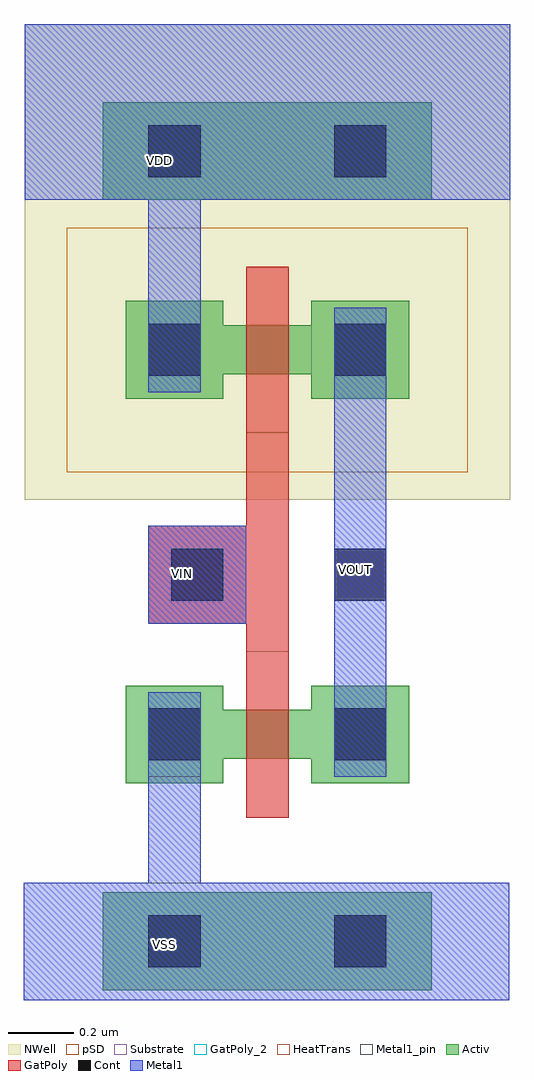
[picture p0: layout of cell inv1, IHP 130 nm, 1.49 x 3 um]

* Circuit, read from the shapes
.subckt inv1 VDD VIN VOUT VSS
XM1 VOUT VIN VSS VSS sg13_lv_nmos w=0.15u l=0.13u
XM2 VOUT VIN VDD VDD sg13_lv_pmos w=0.15u l=0.13u
.ends

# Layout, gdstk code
import gdstk
lib = gdstk.Library(unit=1e-6, precision=1e-09)
def R(c, l, rs):  # rectangles x0, y0, x1, y1
    for r in rs: c.add(gdstk.rectangle(r[:2], r[2:], *l))
Activ = (1, 0)
GatPoly = (5, 0)
GatPoly_2 = (5, 2)
Cont = (6, 0)
Metal1 = (8, 0)
Metal1_pin = (8, 2)
pSD = (14, 0)
NWell = (31, 0)
Substrate = (40, 0)
HeatTrans = (51, 0)

nmos = lib.new_cell('nmos')
R(nmos, Activ, [(0,0,0.3,0.3), (0.57,0,0.87,0.3), (0,0.075,0.87,0.225)])
R(nmos, GatPoly, [(0.37,-0.105,0.5,0.405)])
R(nmos, GatPoly_2, [(0.37,-0.105,0.5,0.405)])
R(nmos, Cont, [(0.07,0.07,0.23,0.23), (0.64,0.07,0.8,0.23)])
R(nmos, Metal1, [(0.07,0.02,0.23,0.28), (0.64,0.02,0.8,0.28)])
R(nmos, Metal1_pin, [(0.07,0.02,0.23,0.28), (0.64,0.02,0.8,0.28)])
R(nmos, HeatTrans, [(0.37,-0.105,0.5,0.405)])
nmos.add(gdstk.Label('nmos', (0.435,0.15), layer=63, texttype=0))
nmos.add(gdstk.Label('nmos', (0.435,0.15), layer=51, texttype=0))

pmos = lib.new_cell('pmos')
R(pmos, Activ, [(0,0,0.3,0.3), (0.57,0,0.87,0.3), (0,0.075,0.87,0.225)])
R(pmos, GatPoly, [(0.37,-0.105,0.5,0.405), (0.37,-0.105,0.5,0.405)])
R(pmos, Cont, [(0.07,0.07,0.23,0.23), (0.64,0.07,0.8,0.23)])
R(pmos, Metal1, [(0.07,0.02,0.23,0.28), (0.07,0.02,0.23,0.28), (0.64,0.02,0.8,0.28), (0.64,0.02,0.8,0.28)])
R(pmos, pSD, [(-0.18,-0.225,1.05,0.525)])
R(pmos, NWell, [(-0.31,-0.31,1.18,0.61)])
R(pmos, Substrate, [(0.57,0,0.87,0.3)])
R(pmos, HeatTrans, [(0.37,-0.105,0.5,0.405)])
pmos.add(gdstk.Label('pmos', (0.435,0.15), layer=63, texttype=0))
pmos.add(gdstk.Label('pmos', (0.435,0.15), layer=51, texttype=0))

inv1 = lib.new_cell('inv1')
R(inv1, Activ, [(1.51,0.215,2.52,0.515), (1.51,2.64,2.52,2.94)])
R(inv1, GatPoly, [(1.95,0.745,2.08,2.435), (1.65,1.34,1.95,1.64)])
R(inv1, Cont, [(1.65,0.285,1.81,0.445), (2.22,0.285,2.38,0.445), (1.72,1.41,1.88,1.57), (2.22,1.41,2.38,1.57), (1.65,2.71,1.81,2.87), (2.22,2.71,2.38,2.87)])
R(inv1, Metal1, [(1.268,0.185,2.758,0.545), (1.65,0.215,1.81,1.13), (2.22,0.87,2.38,2.31), (1.65,1.34,1.95,1.64), (1.65,2.05,1.81,2.94), (1.27,2.64,2.76,3.18)])
R(inv1, Metal1_pin, [(1.268,0.185,2.758,0.545), (2.22,0.87,2.38,2.31), (1.65,1.34,1.95,1.64), (1.27,2.64,2.76,3.18)])
R(inv1, pSD, [(1.268,0.185,2.758,0.545)])
R(inv1, NWell, [(1.27,2.64,2.76,3.18)])
inv1.add(gdstk.Reference(nmos, (1.58,0.85)))
inv1.add(gdstk.Reference(pmos, (1.58,2.03)))
inv1.add(gdstk.Label('VOUT', (2.285,1.505), layer=8, texttype=25))
inv1.add(gdstk.Label('VIN', (1.755,1.495), layer=8, texttype=25))
inv1.add(gdstk.Label('VDD', (1.685,2.76), layer=8, texttype=25))
inv1.add(gdstk.Label('VSS', (1.7,0.355), layer=8, texttype=25))

lib.write_gds('inv1.gds')
